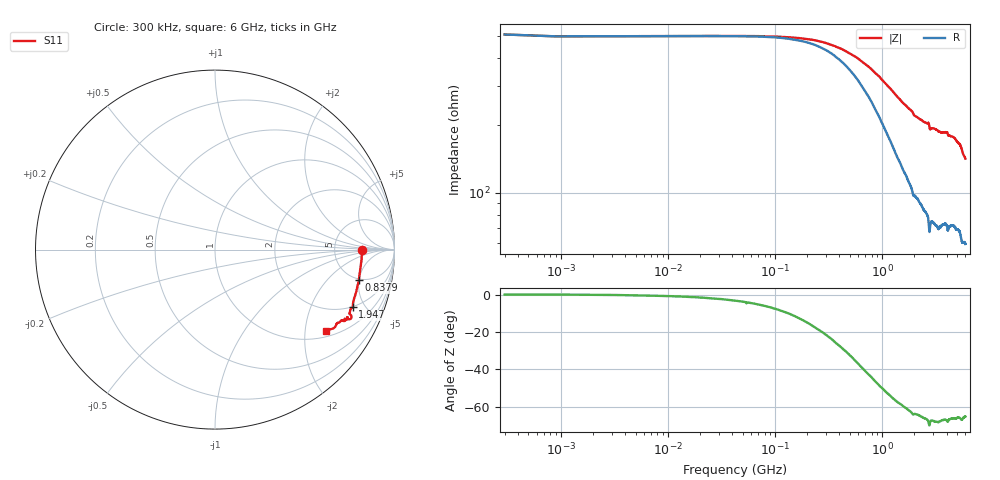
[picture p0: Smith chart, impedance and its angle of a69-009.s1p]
!  3/12/2021  06:22:33
! Ref Plane: 23.990 mm
# MHZ S MA R  50
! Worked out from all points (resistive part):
!   10001 points, 300 kHz to 6 GHz, reference 50 ohm
!   read as one part to ground: R = 498 ohm at 30.3 MHz
!   S11 on the Smith chart (normalised r, x): 300 kHz: 10, +0; 837.9 MHz: 4.85, -4.95; 1.947 GHz: 1.96, -4.07; 6 GHz: 1.18, -2.58
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0.3  0.8203 0.0
386.0807  0.8173 -5.8
750.2625  0.8184 -10.8
837.8581  0.8182 -11.9
1117.444  0.8198 -15.2
1500.225  0.8214 -19.1
1947.203  0.8307 -22.7
2016.199  0.8252 -23.2
2250.188  0.8265 -24.2
2568.172  0.8306 -25.4
2679.766  0.8364 -25.6
2739.763  0.8471 -26.3
2786.561  0.8412 -27.5
2841.158  0.8287 -27.3
3000.15  0.8299 -27.1
3364.332  0.8309 -28.1
3750.113  0.821 -28.1
3910.905  0.8198 -28.0
4075.296  0.8258 -28.3
4126.294  0.8229 -28.9
4188.691  0.8162 -29.1
4500.075  0.8085 -29.2
4768.262  0.8055 -29.6
5250.038  0.794 -31.3
5503.225  0.7959 -32.9
5633.418  0.7876 -34.1
5743.813  0.7773 -34.9
6000  0.7652 -36.2
